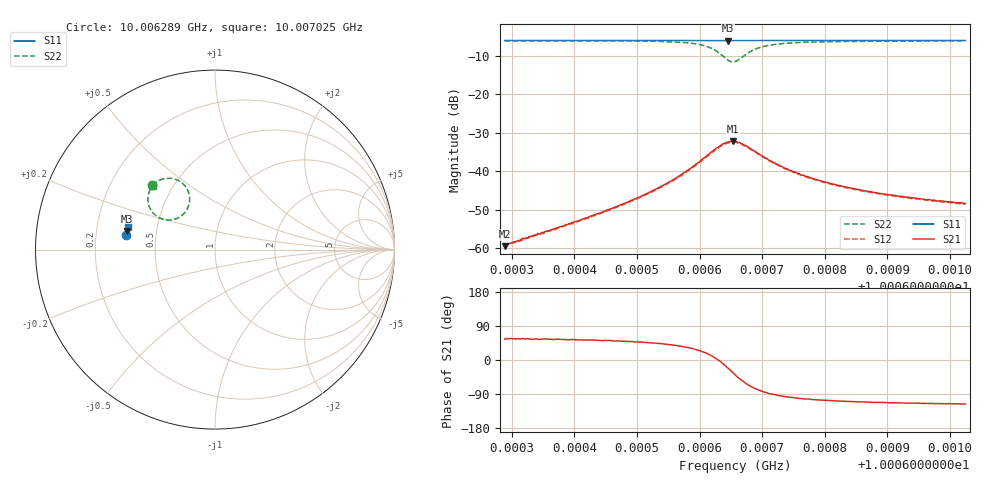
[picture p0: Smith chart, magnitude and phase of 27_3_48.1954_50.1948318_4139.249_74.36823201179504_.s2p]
#  HZ  S  RI  R  50.00
! Rohde & Schwarz Vector Network Analyzer
! Rohde-Schwarz,ZNB20-2Port,1311601062101988,3.16
! Created: UTC 3/20/2024, 11:37:13 AM
! freq[Hz]  re:S11  im:S11  re:S21  im:S21  re:S12  im:S12  re:S22  im:S22
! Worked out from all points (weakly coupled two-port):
!   401 points, 10.006289 GHz to 10.007025 GHz, reference 50 ohm
!   highest |S21| = -32.21 dB at 10.006653 GHz (marker M1); lowest = -59.5 dB at 10.006289 GHz (marker M2)
!   lowest |S11| = -6.0 dB at 10.006646 GHz (marker M3), VSWR 3.00, Z = 16.8 + j4.64 ohm
!   |S11| at or under -10 dB: nowhere
!   |S22| runs from -11.5 to -6.0 dB; largest |S21 - S12| = 0.0017
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1.00062886e10  -0.4957 0.0809  0.000612 0.000859  0.000571 0.000885  -0.3486 0.3585
1.00064119e10  -0.4944 0.0891  0.00141 0.00188  0.0013 0.00188  -0.3334 0.3717
1.00064745e10  -0.4936 0.0933  0.00234 0.0028  0.00218 0.00281  -0.3196 0.381
1.00065058e10  -0.4933 0.0952  0.00315 0.00346  0.00297 0.00348  -0.3088 0.3866
1.00065352e10  -0.493 0.0973  0.00444 0.00422  0.00413 0.00432  -0.294 0.3924
1.00065738e10  -0.4921 0.0999  0.00763 0.00541  0.00721 0.00557  -0.2591 0.3977
1.0006607e10  -0.4911 0.1021  0.0138 0.00525  0.0131 0.00558  -0.2007 0.3828
1.00066254e10  -0.4903 0.1032  0.0194 0.00153  0.0186 0.00255  -0.1564 0.3388
1.00066364e10  -0.4897 0.1034  0.0222 -0.00327  0.0215 -0.00202  -0.1412 0.2872
1.00066456e10  -0.4894 0.1035  0.0224 -0.00888  0.0221 -0.00737  -0.1509 0.2347
1.0006653e10  -0.4895 0.1035  0.0204 -0.0135  0.0205 -0.0119  -0.1769 0.197
1.00066567e10  -0.4896 0.1034  0.0189 -0.0153  0.0193 -0.0138  -0.1948 0.183
1.00066677e10  -0.4901 0.1038  0.0134 -0.0185  0.0141 -0.0173  -0.2546 0.1647
1.00066806e10  -0.4905 0.1043  0.00716 -0.0186  0.00804 -0.0176  -0.3113 0.1777
1.00067027e10  -0.4908 0.106  0.00156 -0.0152  0.00223 -0.0148  -0.358 0.2223
1.00067376e10  -0.4908 0.1085  -0.00126 -0.0107  -0.000651 -0.0106  -0.3737 0.2725
1.00067799e10  -0.4904 0.1114  -0.00196 -0.0078  -0.00154 -0.00777  -0.3717 0.3042
1.0006802e10  -0.4902 0.1129  -0.00203 -0.00687  -0.00167 -0.00681  -0.369 0.3145
1.00068388e10  -0.4897 0.1154  -0.00202 -0.00575  -0.00169 -0.00575  -0.3647 0.3269
1.00069032e10  -0.489 0.1196  -0.0019 -0.00451  -0.00166 -0.00455  -0.3576 0.3408
1.00069603e10  -0.4881 0.1232  -0.00176 -0.00387  -0.00157 -0.00391  -0.3526 0.3493
1.00070247e10  -0.4873 0.1273  -0.00168 -0.00341  -0.00149 -0.00338  -0.3473 0.3566
